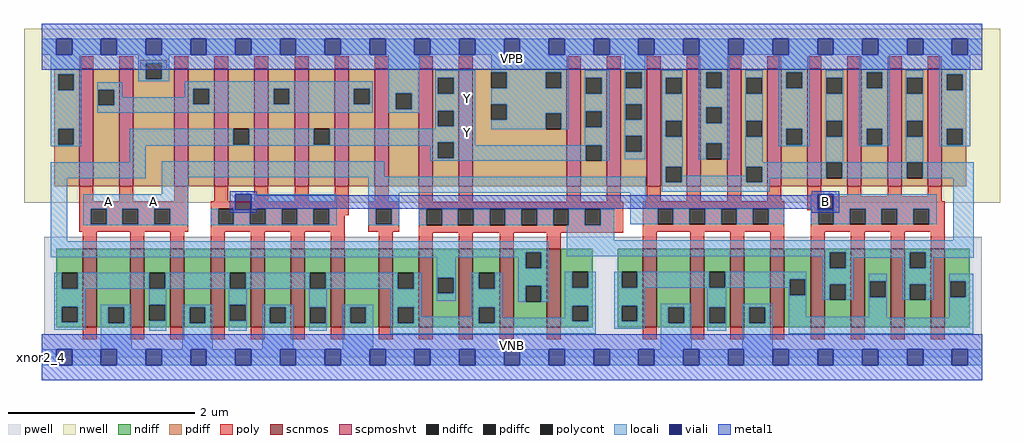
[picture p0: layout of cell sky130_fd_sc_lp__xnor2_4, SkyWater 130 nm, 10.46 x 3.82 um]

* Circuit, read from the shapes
.subckt sky130_fd_sc_lp__xnor2_4 A B VGND VNB VPB VPWR Y
XM1 VGND A n1 VNB sky130_fd_pr__nfet_01v8 w=0.84 l=0.15 m=4
XM2 n1 B VGND VNB sky130_fd_pr__nfet_01v8 w=0.84 l=0.15 m=4
XM3 Y n2 n1 VNB sky130_fd_pr__nfet_01v8 w=0.84 l=0.15 m=4
XM4 VGND A n3 VNB sky130_fd_pr__nfet_01v8 w=0.84 l=0.15 m=4
XM5 n2 B n3 VNB sky130_fd_pr__nfet_01v8 w=0.84 l=0.15 m=4
XM6 n4 A VPWR VPB sky130_fd_pr__pfet_01v8_hvt w=1.26 l=0.15 m=4
XM7 Y B n4 VPB sky130_fd_pr__pfet_01v8_hvt w=1.26 l=0.15 m=4
XM8 Y n2 VPWR VPB sky130_fd_pr__pfet_01v8_hvt w=1.26 l=0.15 m=4
XM9 n2 A VPWR VPB sky130_fd_pr__pfet_01v8_hvt w=1.26 l=0.15 m=4
XM10 n2 B VPWR VPB sky130_fd_pr__pfet_01v8_hvt w=1.26 l=0.15 m=4
.ends

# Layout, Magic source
magic
tech sky130A
magscale 1 2
<< nwell >>
rect -38 331 2054 704
<< pwell >>
rect 5 49 2015 259
rect 0 0 2016 49
<< scnmos >>
rect 88 65 118 233
rect 190 65 220 233
rect 276 65 306 233
rect 362 65 392 233
rect 448 65 478 233
rect 534 65 564 233
rect 620 65 650 233
rect 722 65 752 233
rect 808 65 838 233
rect 894 65 924 233
rect 982 65 1012 233
rect 1082 65 1112 233
rect 1288 65 1318 233
rect 1390 65 1420 233
rect 1476 65 1506 233
rect 1562 65 1592 233
rect 1648 65 1678 233
rect 1734 65 1764 233
rect 1820 65 1850 233
rect 1906 65 1936 233
<< scpmoshvt >>
rect 80 367 110 619
rect 166 367 196 619
rect 284 367 314 619
rect 370 367 400 619
rect 456 367 486 619
rect 542 367 572 619
rect 628 367 658 619
rect 714 367 744 619
rect 808 367 838 619
rect 894 367 924 619
rect 1125 367 1155 619
rect 1211 367 1241 619
rect 1297 367 1327 619
rect 1383 367 1413 619
rect 1469 367 1499 619
rect 1555 367 1585 619
rect 1641 367 1671 619
rect 1727 367 1757 619
rect 1813 367 1843 619
rect 1899 367 1929 619
<< ndiff >>
rect 31 181 88 233
rect 31 147 43 181
rect 77 147 88 181
rect 31 109 88 147
rect 31 75 43 109
rect 77 75 88 109
rect 31 65 88 75
rect 118 107 190 233
rect 118 73 143 107
rect 177 73 190 107
rect 118 65 190 73
rect 220 181 276 233
rect 220 147 231 181
rect 265 147 276 181
rect 220 113 276 147
rect 220 79 231 113
rect 265 79 276 113
rect 220 65 276 79
rect 306 107 362 233
rect 306 73 317 107
rect 351 73 362 107
rect 306 65 362 73
rect 392 181 448 233
rect 392 147 403 181
rect 437 147 448 181
rect 392 113 448 147
rect 392 79 403 113
rect 437 79 448 113
rect 392 65 448 79
rect 478 107 534 233
rect 478 73 489 107
rect 523 73 534 107
rect 478 65 534 73
rect 564 181 620 233
rect 564 147 575 181
rect 609 147 620 181
rect 564 107 620 147
rect 564 73 575 107
rect 609 73 620 107
rect 564 65 620 73
rect 650 107 722 233
rect 650 73 661 107
rect 695 73 722 107
rect 650 65 722 73
rect 752 181 808 233
rect 752 147 763 181
rect 797 147 808 181
rect 752 107 808 147
rect 752 73 763 107
rect 797 73 808 107
rect 752 65 808 73
rect 838 171 894 233
rect 838 137 849 171
rect 883 137 894 171
rect 838 65 894 137
rect 924 181 982 233
rect 924 147 937 181
rect 971 147 982 181
rect 924 107 982 147
rect 924 73 937 107
rect 971 73 982 107
rect 924 65 982 73
rect 1012 225 1082 233
rect 1012 191 1037 225
rect 1071 191 1082 225
rect 1012 153 1082 191
rect 1012 119 1037 153
rect 1071 119 1082 153
rect 1012 65 1082 119
rect 1112 183 1181 233
rect 1112 149 1137 183
rect 1171 149 1181 183
rect 1112 111 1181 149
rect 1112 77 1137 111
rect 1171 77 1181 111
rect 1112 65 1181 77
rect 1235 183 1288 233
rect 1235 149 1243 183
rect 1277 149 1288 183
rect 1235 111 1288 149
rect 1235 77 1243 111
rect 1277 77 1288 111
rect 1235 65 1288 77
rect 1318 107 1390 233
rect 1318 73 1343 107
rect 1377 73 1390 107
rect 1318 65 1390 73
rect 1420 183 1476 233
rect 1420 149 1431 183
rect 1465 149 1476 183
rect 1420 107 1476 149
rect 1420 73 1431 107
rect 1465 73 1476 107
rect 1420 65 1476 73
rect 1506 107 1562 233
rect 1506 73 1517 107
rect 1551 73 1562 107
rect 1506 65 1562 73
rect 1592 167 1648 233
rect 1592 133 1603 167
rect 1637 133 1648 167
rect 1592 65 1648 133
rect 1678 225 1734 233
rect 1678 191 1689 225
rect 1723 191 1734 225
rect 1678 157 1734 191
rect 1678 123 1689 157
rect 1723 123 1734 157
rect 1678 65 1734 123
rect 1764 163 1820 233
rect 1764 129 1775 163
rect 1809 129 1820 163
rect 1764 65 1820 129
rect 1850 225 1906 233
rect 1850 191 1861 225
rect 1895 191 1906 225
rect 1850 157 1906 191
rect 1850 123 1861 157
rect 1895 123 1906 157
rect 1850 65 1906 123
rect 1936 163 1989 233
rect 1936 129 1947 163
rect 1981 129 1989 163
rect 1936 65 1989 129
<< pdiff >>
rect 211 630 269 638
rect 211 619 223 630
rect 27 607 80 619
rect 27 573 35 607
rect 69 573 80 607
rect 27 490 80 573
rect 27 456 35 490
rect 69 456 80 490
rect 27 367 80 456
rect 110 574 166 619
rect 110 540 121 574
rect 155 540 166 574
rect 110 367 166 540
rect 196 596 223 619
rect 257 619 269 630
rect 257 596 284 619
rect 196 367 284 596
rect 314 576 370 619
rect 314 542 325 576
rect 359 542 370 576
rect 314 367 370 542
rect 400 490 456 619
rect 400 456 411 490
rect 445 456 456 490
rect 400 367 456 456
rect 486 576 542 619
rect 486 542 497 576
rect 531 542 542 576
rect 486 367 542 542
rect 572 490 628 619
rect 572 456 583 490
rect 617 456 628 490
rect 572 367 628 456
rect 658 576 714 619
rect 658 542 669 576
rect 703 542 714 576
rect 658 367 714 542
rect 744 566 808 619
rect 744 532 759 566
rect 793 532 808 566
rect 744 367 808 532
rect 838 599 894 619
rect 838 565 849 599
rect 883 565 894 599
rect 838 529 894 565
rect 838 495 849 529
rect 883 495 894 529
rect 838 461 894 495
rect 838 427 849 461
rect 883 427 894 461
rect 838 367 894 427
rect 924 611 1125 619
rect 924 577 963 611
rect 997 577 1080 611
rect 1114 577 1125 611
rect 924 543 1125 577
rect 924 509 963 543
rect 997 523 1125 543
rect 997 509 1080 523
rect 924 489 1080 509
rect 1114 489 1125 523
rect 924 367 1125 489
rect 1155 599 1211 619
rect 1155 565 1166 599
rect 1200 565 1211 599
rect 1155 527 1211 565
rect 1155 493 1166 527
rect 1200 493 1211 527
rect 1155 455 1211 493
rect 1155 421 1166 455
rect 1200 421 1211 455
rect 1155 367 1211 421
rect 1241 611 1297 619
rect 1241 577 1252 611
rect 1286 577 1297 611
rect 1241 543 1297 577
rect 1241 509 1252 543
rect 1286 509 1297 543
rect 1241 475 1297 509
rect 1241 441 1252 475
rect 1286 441 1297 475
rect 1241 367 1297 441
rect 1327 599 1383 619
rect 1327 565 1338 599
rect 1372 565 1383 599
rect 1327 507 1383 565
rect 1327 473 1338 507
rect 1372 473 1383 507
rect 1327 409 1383 473
rect 1327 375 1338 409
rect 1372 375 1383 409
rect 1327 367 1383 375
rect 1413 611 1469 619
rect 1413 577 1424 611
rect 1458 577 1469 611
rect 1413 536 1469 577
rect 1413 502 1424 536
rect 1458 502 1469 536
rect 1413 459 1469 502
rect 1413 425 1424 459
rect 1458 425 1469 459
rect 1413 367 1469 425
rect 1499 599 1555 619
rect 1499 565 1510 599
rect 1544 565 1555 599
rect 1499 507 1555 565
rect 1499 473 1510 507
rect 1544 473 1555 507
rect 1499 409 1555 473
rect 1499 375 1510 409
rect 1544 375 1555 409
rect 1499 367 1555 375
rect 1585 611 1641 619
rect 1585 577 1596 611
rect 1630 577 1641 611
rect 1585 490 1641 577
rect 1585 456 1596 490
rect 1630 456 1641 490
rect 1585 367 1641 456
rect 1671 599 1727 619
rect 1671 565 1682 599
rect 1716 565 1727 599
rect 1671 507 1727 565
rect 1671 473 1682 507
rect 1716 473 1727 507
rect 1671 418 1727 473
rect 1671 384 1682 418
rect 1716 384 1727 418
rect 1671 367 1727 384
rect 1757 611 1813 619
rect 1757 577 1768 611
rect 1802 577 1813 611
rect 1757 490 1813 577
rect 1757 456 1768 490
rect 1802 456 1813 490
rect 1757 367 1813 456
rect 1843 599 1899 619
rect 1843 565 1854 599
rect 1888 565 1899 599
rect 1843 507 1899 565
rect 1843 473 1854 507
rect 1888 473 1899 507
rect 1843 418 1899 473
rect 1843 384 1854 418
rect 1888 384 1899 418
rect 1843 367 1899 384
rect 1929 607 1982 619
rect 1929 573 1940 607
rect 1974 573 1982 607
rect 1929 490 1982 573
rect 1929 456 1940 490
rect 1974 456 1982 490
rect 1929 367 1982 456
<< ndiffc >>
rect 43 147 77 181
rect 43 75 77 109
rect 143 73 177 107
rect 231 147 265 181
rect 231 79 265 113
rect 317 73 351 107
rect 403 147 437 181
rect 403 79 437 113
rect 489 73 523 107
rect 575 147 609 181
rect 575 73 609 107
rect 661 73 695 107
rect 763 147 797 181
rect 763 73 797 107
rect 849 137 883 171
rect 937 147 971 181
rect 937 73 971 107
rect 1037 191 1071 225
rect 1037 119 1071 153
rect 1137 149 1171 183
rect 1137 77 1171 111
rect 1243 149 1277 183
rect 1243 77 1277 111
rect 1343 73 1377 107
rect 1431 149 1465 183
rect 1431 73 1465 107
rect 1517 73 1551 107
rect 1603 133 1637 167
rect 1689 191 1723 225
rect 1689 123 1723 157
rect 1775 129 1809 163
rect 1861 191 1895 225
rect 1861 123 1895 157
rect 1947 129 1981 163
<< pdiffc >>
rect 35 573 69 607
rect 35 456 69 490
rect 121 540 155 574
rect 223 596 257 630
rect 325 542 359 576
rect 411 456 445 490
rect 497 542 531 576
rect 583 456 617 490
rect 669 542 703 576
rect 759 532 793 566
rect 849 565 883 599
rect 849 495 883 529
rect 849 427 883 461
rect 963 577 997 611
rect 1080 577 1114 611
rect 963 509 997 543
rect 1080 489 1114 523
rect 1166 565 1200 599
rect 1166 493 1200 527
rect 1166 421 1200 455
rect 1252 577 1286 611
rect 1252 509 1286 543
rect 1252 441 1286 475
rect 1338 565 1372 599
rect 1338 473 1372 507
rect 1338 375 1372 409
rect 1424 577 1458 611
rect 1424 502 1458 536
rect 1424 425 1458 459
rect 1510 565 1544 599
rect 1510 473 1544 507
rect 1510 375 1544 409
rect 1596 577 1630 611
rect 1596 456 1630 490
rect 1682 565 1716 599
rect 1682 473 1716 507
rect 1682 384 1716 418
rect 1768 577 1802 611
rect 1768 456 1802 490
rect 1854 565 1888 599
rect 1854 473 1888 507
rect 1854 384 1888 418
rect 1940 573 1974 607
rect 1940 456 1974 490
<< poly >>
rect 80 619 110 645
rect 166 619 196 645
rect 284 619 314 645
rect 370 619 400 645
rect 456 619 486 645
rect 542 619 572 645
rect 628 619 658 645
rect 714 619 744 645
rect 808 619 838 645
rect 894 619 924 645
rect 1125 619 1155 645
rect 1211 619 1241 645
rect 1297 619 1327 645
rect 1383 619 1413 645
rect 1469 619 1499 645
rect 1555 619 1585 645
rect 1641 619 1671 645
rect 1727 619 1757 645
rect 1813 619 1843 645
rect 1899 619 1929 645
rect 80 335 110 367
rect 166 335 196 367
rect 284 335 314 367
rect 370 335 400 367
rect 456 335 486 367
rect 542 335 572 367
rect 628 335 658 367
rect 714 335 744 367
rect 80 319 314 335
rect 80 285 105 319
rect 139 285 173 319
rect 207 285 241 319
rect 275 285 314 319
rect 80 269 314 285
rect 362 319 658 335
rect 362 285 378 319
rect 412 285 446 319
rect 480 285 514 319
rect 548 285 582 319
rect 616 305 658 319
rect 700 319 766 335
rect 616 285 650 305
rect 362 269 650 285
rect 700 285 716 319
rect 750 285 766 319
rect 700 269 766 285
rect 808 333 838 367
rect 894 333 924 367
rect 1125 333 1155 367
rect 1211 333 1241 367
rect 1297 335 1327 367
rect 1383 335 1413 367
rect 1469 335 1499 367
rect 1555 335 1585 367
rect 1641 345 1671 367
rect 1727 345 1757 367
rect 1813 345 1843 367
rect 1899 345 1929 367
rect 1641 335 1929 345
rect 808 317 1246 333
rect 808 283 824 317
rect 858 283 892 317
rect 926 283 960 317
rect 994 283 1028 317
rect 1062 283 1096 317
rect 1130 283 1164 317
rect 1198 283 1246 317
rect 88 233 118 269
rect 190 233 220 269
rect 276 233 306 269
rect 362 233 392 269
rect 448 233 478 269
rect 534 233 564 269
rect 620 233 650 269
rect 722 233 752 269
rect 808 267 1246 283
rect 1288 319 1592 335
rect 1288 285 1320 319
rect 1354 285 1388 319
rect 1422 285 1456 319
rect 1490 285 1524 319
rect 1558 285 1592 319
rect 1641 319 1936 335
rect 1641 315 1664 319
rect 1288 269 1592 285
rect 808 233 838 267
rect 894 233 924 267
rect 982 233 1012 267
rect 1082 233 1112 267
rect 1288 233 1318 269
rect 1390 233 1420 269
rect 1476 233 1506 269
rect 1562 233 1592 269
rect 1648 285 1664 315
rect 1698 285 1732 319
rect 1766 285 1800 319
rect 1834 285 1868 319
rect 1902 285 1936 319
rect 1648 269 1936 285
rect 1648 233 1678 269
rect 1734 233 1764 269
rect 1820 233 1850 269
rect 1906 233 1936 269
rect 88 39 118 65
rect 190 39 220 65
rect 276 39 306 65
rect 362 39 392 65
rect 448 39 478 65
rect 534 39 564 65
rect 620 39 650 65
rect 722 39 752 65
rect 808 39 838 65
rect 894 39 924 65
rect 982 39 1012 65
rect 1082 39 1112 65
rect 1288 39 1318 65
rect 1390 39 1420 65
rect 1476 39 1506 65
rect 1562 39 1592 65
rect 1648 39 1678 65
rect 1734 39 1764 65
rect 1820 39 1850 65
rect 1906 39 1936 65
<< polycont >>
rect 105 285 139 319
rect 173 285 207 319
rect 241 285 275 319
rect 378 285 412 319
rect 446 285 480 319
rect 514 285 548 319
rect 582 285 616 319
rect 716 285 750 319
rect 824 283 858 317
rect 892 283 926 317
rect 960 283 994 317
rect 1028 283 1062 317
rect 1096 283 1130 317
rect 1164 283 1198 317
rect 1320 285 1354 319
rect 1388 285 1422 319
rect 1456 285 1490 319
rect 1524 285 1558 319
rect 1664 285 1698 319
rect 1732 285 1766 319
rect 1800 285 1834 319
rect 1868 285 1902 319
<< locali >>
rect 0 649 31 683
rect 65 649 127 683
rect 161 649 223 683
rect 257 649 319 683
rect 353 649 415 683
rect 449 649 511 683
rect 545 649 607 683
rect 641 649 703 683
rect 737 649 799 683
rect 833 649 895 683
rect 929 649 991 683
rect 1025 649 1087 683
rect 1121 649 1183 683
rect 1217 649 1279 683
rect 1313 649 1375 683
rect 1409 649 1471 683
rect 1505 649 1567 683
rect 1601 649 1663 683
rect 1697 649 1759 683
rect 1793 649 1855 683
rect 1889 649 1951 683
rect 1985 649 2016 683
rect 19 607 85 649
rect 19 573 35 607
rect 69 573 85 607
rect 207 630 273 649
rect 207 596 223 630
rect 257 596 273 630
rect 207 592 273 596
rect 19 490 85 573
rect 119 574 173 590
rect 119 540 121 574
rect 155 558 173 574
rect 307 576 709 592
rect 307 558 325 576
rect 155 542 325 558
rect 359 542 497 576
rect 531 542 669 576
rect 703 542 709 576
rect 155 540 709 542
rect 119 524 709 540
rect 743 566 809 649
rect 743 532 759 566
rect 793 532 809 566
rect 743 524 809 532
rect 843 599 929 615
rect 843 565 849 599
rect 883 565 929 599
rect 843 529 929 565
rect 843 495 849 529
rect 883 495 929 529
rect 843 490 929 495
rect 19 456 35 490
rect 69 456 85 490
rect 19 452 85 456
rect 189 456 411 490
rect 445 456 583 490
rect 617 461 929 490
rect 963 611 1130 649
rect 997 577 1080 611
rect 1114 577 1130 611
rect 963 543 1130 577
rect 997 523 1130 543
rect 997 509 1080 523
rect 963 489 1080 509
rect 1114 489 1130 523
rect 1164 599 1216 615
rect 1164 565 1166 599
rect 1200 565 1216 599
rect 1164 527 1216 565
rect 1164 493 1166 527
rect 1200 493 1216 527
rect 617 456 849 461
rect 189 454 849 456
rect 189 418 223 454
rect 833 427 849 454
rect 883 455 929 461
rect 1164 455 1216 493
rect 883 427 1166 455
rect 833 421 1166 427
rect 1200 421 1216 455
rect 1250 611 1294 649
rect 1250 577 1252 611
rect 1286 577 1294 611
rect 1250 543 1294 577
rect 1250 509 1252 543
rect 1286 509 1294 543
rect 1250 475 1294 509
rect 1250 441 1252 475
rect 1286 441 1294 475
rect 1250 425 1294 441
rect 1329 599 1374 615
rect 1329 565 1338 599
rect 1372 565 1374 599
rect 1329 507 1374 565
rect 1329 473 1338 507
rect 1372 473 1374 507
rect 19 384 223 418
rect 257 387 734 420
rect 1329 409 1374 473
rect 1408 611 1474 649
rect 1408 577 1424 611
rect 1458 577 1474 611
rect 1408 536 1474 577
rect 1408 502 1424 536
rect 1458 502 1474 536
rect 1408 459 1474 502
rect 1408 425 1424 459
rect 1458 425 1474 459
rect 1508 599 1546 615
rect 1508 565 1510 599
rect 1544 565 1546 599
rect 1508 507 1546 565
rect 1508 473 1510 507
rect 1544 473 1546 507
rect 257 386 1295 387
rect 19 249 55 384
rect 257 350 314 386
rect 700 353 1295 386
rect 1329 375 1338 409
rect 1372 389 1374 409
rect 1508 418 1546 473
rect 1580 611 1646 649
rect 1580 577 1596 611
rect 1630 577 1646 611
rect 1580 490 1646 577
rect 1580 456 1596 490
rect 1630 456 1646 490
rect 1580 452 1646 456
rect 1680 599 1718 615
rect 1680 565 1682 599
rect 1716 565 1718 599
rect 1680 507 1718 565
rect 1680 473 1682 507
rect 1716 473 1718 507
rect 1680 418 1718 473
rect 1752 611 1818 649
rect 1752 577 1768 611
rect 1802 577 1818 611
rect 1752 490 1818 577
rect 1752 456 1768 490
rect 1802 456 1818 490
rect 1752 452 1818 456
rect 1852 599 1890 615
rect 1852 565 1854 599
rect 1888 565 1890 599
rect 1852 507 1890 565
rect 1852 473 1854 507
rect 1888 473 1890 507
rect 1852 418 1890 473
rect 1924 607 1990 649
rect 1924 573 1940 607
rect 1974 573 1990 607
rect 1924 490 1990 573
rect 1924 456 1940 490
rect 1974 456 1990 490
rect 1924 452 1990 456
rect 1508 409 1682 418
rect 1508 389 1510 409
rect 1372 375 1510 389
rect 1544 384 1682 409
rect 1716 384 1854 418
rect 1888 384 1998 418
rect 1544 375 1560 384
rect 1329 355 1560 375
rect 89 319 314 350
rect 449 319 632 350
rect 89 285 105 319
rect 139 285 173 319
rect 207 285 241 319
rect 275 285 314 319
rect 89 283 314 285
rect 362 285 378 319
rect 412 316 415 319
rect 412 285 446 316
rect 480 285 514 319
rect 548 285 582 319
rect 616 285 632 319
rect 362 283 632 285
rect 700 319 766 353
rect 700 285 716 319
rect 750 285 766 319
rect 1261 319 1295 353
rect 700 283 766 285
rect 808 283 824 317
rect 858 283 892 317
rect 926 283 960 317
rect 994 283 1028 317
rect 1062 283 1096 317
rect 1130 283 1164 317
rect 1198 283 1227 317
rect 1261 285 1320 319
rect 1354 285 1388 319
rect 1422 285 1456 319
rect 1490 285 1524 319
rect 1558 285 1592 319
rect 1648 316 1663 350
rect 1697 319 1918 350
rect 1648 285 1664 316
rect 1698 285 1732 319
rect 1766 285 1800 319
rect 1834 285 1868 319
rect 1902 285 1918 319
rect 1125 251 1227 283
rect 1954 251 1998 384
rect 19 225 1087 249
rect 19 215 1037 225
rect 27 147 43 181
rect 77 147 231 181
rect 265 147 403 181
rect 437 147 575 181
rect 609 147 763 181
rect 797 147 813 181
rect 27 109 93 147
rect 231 113 267 147
rect 401 113 439 147
rect 27 75 43 109
rect 77 75 93 109
rect 27 59 93 75
rect 127 107 193 113
rect 127 73 143 107
rect 177 73 193 107
rect 127 17 193 73
rect 265 79 267 113
rect 231 57 267 79
rect 301 107 367 113
rect 301 73 317 107
rect 351 73 367 107
rect 301 17 367 73
rect 401 79 403 113
rect 437 79 439 113
rect 401 57 439 79
rect 473 107 539 113
rect 473 73 489 107
rect 523 73 539 107
rect 473 17 539 73
rect 573 107 611 147
rect 573 73 575 107
rect 609 73 611 107
rect 573 57 611 73
rect 645 107 711 113
rect 645 73 661 107
rect 695 73 711 107
rect 645 17 711 73
rect 747 107 813 147
rect 847 171 887 215
rect 1021 191 1037 215
rect 1071 191 1087 225
rect 1125 225 1998 251
rect 1125 217 1689 225
rect 847 137 849 171
rect 883 137 887 171
rect 847 121 887 137
rect 921 147 937 181
rect 971 147 987 181
rect 747 73 763 107
rect 797 87 813 107
rect 921 107 987 147
rect 1021 153 1087 191
rect 1673 191 1689 217
rect 1723 213 1861 225
rect 1723 191 1739 213
rect 1021 119 1037 153
rect 1071 119 1087 153
rect 1121 149 1137 183
rect 1171 149 1187 183
rect 921 87 937 107
rect 797 73 937 87
rect 971 85 987 107
rect 1121 111 1187 149
rect 1121 85 1137 111
rect 971 77 1137 85
rect 1171 77 1187 111
rect 971 73 1187 77
rect 747 51 1187 73
rect 1227 149 1243 183
rect 1277 149 1431 183
rect 1465 167 1639 183
rect 1465 149 1603 167
rect 1227 111 1293 149
rect 1227 77 1243 111
rect 1277 77 1293 111
rect 1227 61 1293 77
rect 1327 107 1393 115
rect 1327 73 1343 107
rect 1377 73 1393 107
rect 1327 17 1393 73
rect 1427 107 1467 149
rect 1601 133 1603 149
rect 1637 133 1639 167
rect 1427 73 1431 107
rect 1465 73 1467 107
rect 1427 57 1467 73
rect 1501 107 1567 115
rect 1501 73 1517 107
rect 1551 73 1567 107
rect 1501 17 1567 73
rect 1601 87 1639 133
rect 1673 157 1739 191
rect 1845 191 1861 213
rect 1895 213 1998 225
rect 1895 191 1911 213
rect 1673 123 1689 157
rect 1723 123 1739 157
rect 1773 163 1811 179
rect 1773 129 1775 163
rect 1809 129 1811 163
rect 1773 87 1811 129
rect 1845 157 1911 191
rect 1845 123 1861 157
rect 1895 123 1911 157
rect 1945 163 1997 179
rect 1945 129 1947 163
rect 1981 129 1997 163
rect 1601 85 1811 87
rect 1945 85 1997 129
rect 1601 51 1997 85
rect 0 -17 31 17
rect 65 -17 127 17
rect 161 -17 223 17
rect 257 -17 319 17
rect 353 -17 415 17
rect 449 -17 511 17
rect 545 -17 607 17
rect 641 -17 703 17
rect 737 -17 799 17
rect 833 -17 895 17
rect 929 -17 991 17
rect 1025 -17 1087 17
rect 1121 -17 1183 17
rect 1217 -17 1279 17
rect 1313 -17 1375 17
rect 1409 -17 1471 17
rect 1505 -17 1567 17
rect 1601 -17 1663 17
rect 1697 -17 1759 17
rect 1793 -17 1855 17
rect 1889 -17 1951 17
rect 1985 -17 2016 17
<< viali >>
rect 31 649 65 683
rect 127 649 161 683
rect 223 649 257 683
rect 319 649 353 683
rect 415 649 449 683
rect 511 649 545 683
rect 607 649 641 683
rect 703 649 737 683
rect 799 649 833 683
rect 895 649 929 683
rect 991 649 1025 683
rect 1087 649 1121 683
rect 1183 649 1217 683
rect 1279 649 1313 683
rect 1375 649 1409 683
rect 1471 649 1505 683
rect 1567 649 1601 683
rect 1663 649 1697 683
rect 1759 649 1793 683
rect 1855 649 1889 683
rect 1951 649 1985 683
rect 415 319 449 350
rect 415 316 446 319
rect 446 316 449 319
rect 1663 319 1697 350
rect 1663 316 1664 319
rect 1664 316 1697 319
rect 31 -17 65 17
rect 127 -17 161 17
rect 223 -17 257 17
rect 319 -17 353 17
rect 415 -17 449 17
rect 511 -17 545 17
rect 607 -17 641 17
rect 703 -17 737 17
rect 799 -17 833 17
rect 895 -17 929 17
rect 991 -17 1025 17
rect 1087 -17 1121 17
rect 1183 -17 1217 17
rect 1279 -17 1313 17
rect 1375 -17 1409 17
rect 1471 -17 1505 17
rect 1567 -17 1601 17
rect 1663 -17 1697 17
rect 1759 -17 1793 17
rect 1855 -17 1889 17
rect 1951 -17 1985 17
<< metal1 >>
rect 0 683 2016 715
rect 0 649 31 683
rect 65 649 127 683
rect 161 649 223 683
rect 257 649 319 683
rect 353 649 415 683
rect 449 649 511 683
rect 545 649 607 683
rect 641 649 703 683
rect 737 649 799 683
rect 833 649 895 683
rect 929 649 991 683
rect 1025 649 1087 683
rect 1121 649 1183 683
rect 1217 649 1279 683
rect 1313 649 1375 683
rect 1409 649 1471 683
rect 1505 649 1567 683
rect 1601 649 1663 683
rect 1697 649 1759 683
rect 1793 649 1855 683
rect 1889 649 1951 683
rect 1985 649 2016 683
rect 0 617 2016 649
rect 403 350 461 356
rect 403 316 415 350
rect 449 347 461 350
rect 1651 350 1709 356
rect 1651 347 1663 350
rect 449 319 1663 347
rect 449 316 461 319
rect 403 310 461 316
rect 1651 316 1663 319
rect 1697 316 1709 350
rect 1651 310 1709 316
rect 0 17 2016 49
rect 0 -17 31 17
rect 65 -17 127 17
rect 161 -17 223 17
rect 257 -17 319 17
rect 353 -17 415 17
rect 449 -17 511 17
rect 545 -17 607 17
rect 641 -17 703 17
rect 737 -17 799 17
rect 833 -17 895 17
rect 929 -17 991 17
rect 1025 -17 1087 17
rect 1121 -17 1183 17
rect 1217 -17 1279 17
rect 1313 -17 1375 17
rect 1409 -17 1471 17
rect 1505 -17 1567 17
rect 1601 -17 1663 17
rect 1697 -17 1759 17
rect 1793 -17 1855 17
rect 1889 -17 1951 17
rect 1985 -17 2016 17
rect 0 -49 2016 -17
<< labels >>
flabel pwell s 0 0 2016 49 0 FreeSans 200 0 0 0 VNB
port 4 nsew ground bidirectional
flabel nwell s 0 617 2016 666 0 FreeSans 200 0 0 0 VPB
port 5 nsew power bidirectional
rlabel comment s 0 0 0 0 4 xnor2_4
flabel metal1 s 1663 316 1697 350 0 FreeSans 340 0 0 0 B
port 2 nsew signal input
flabel metal1 s 0 617 2016 666 0 FreeSans 340 0 0 0 VPWR
port 6 nsew power bidirectional
flabel metal1 s 0 0 2016 49 0 FreeSans 340 0 0 0 VGND
port 3 nsew ground bidirectional
flabel locali s 127 316 161 350 0 FreeSans 340 0 0 0 A
port 1 nsew signal input
flabel locali s 223 316 257 350 0 FreeSans 340 0 0 0 A
port 1 nsew signal input
flabel locali s 895 464 929 498 0 FreeSans 340 0 0 0 Y
port 7 nsew signal output
flabel locali s 895 538 929 572 0 FreeSans 340 0 0 0 Y
port 7 nsew signal output
<< properties >>
string LEFsite unit
string LEFclass CORE
string FIXED_BBOX 0 0 2016 666
string GDS_FILE $PDKPATH/libs.ref/sky130_fd_sc_lp/gds/sky130_fd_sc_lp.gds
string LEFsymmetry X Y R90
string GDS_END 4285878
string GDS_START 4270914
<< end >>
